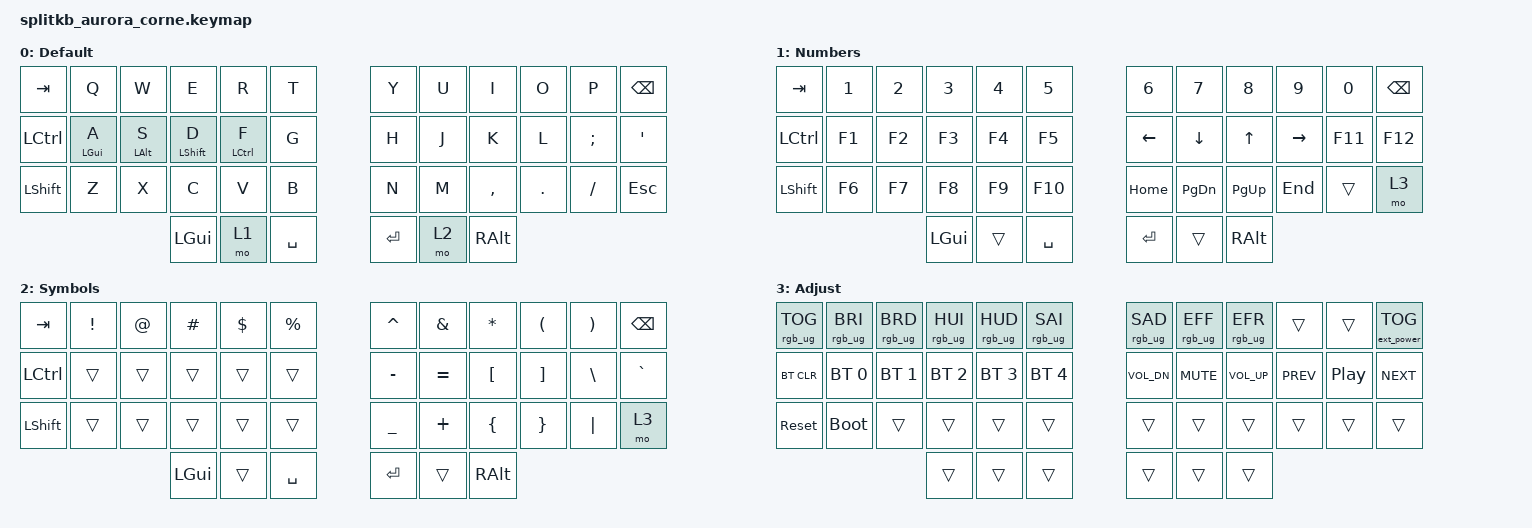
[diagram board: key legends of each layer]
/*
 * Copyright (c) 2020 The ZMK Contributors
 *
 * SPDX-License-Identifier: MIT
 */

#include <behaviors.dtsi>
#include <dt-bindings/zmk/keys.h>
#include <dt-bindings/zmk/bt.h>
#include <dt-bindings/zmk/rgb.h>
#include <dt-bindings/zmk/ext_power.h>

/ {
    behaviors {
        hm: homerow_mods {
            compatible = "zmk,behavior-hold-tap";
            label = "HOMEROW_MODS";
            #binding-cells = <2>;
            tapping-term-ms = <150>;
            quick-tap-ms = <0>;
            flavor = "tap-preferred";
            bindings = <&kp>, <&kp>;
        };
    };

    combos {
        compatible = "zmk,combos";

        combo_lpar {
            timeout-ms = <50>;
            key-positions = <4 5>;  // R + T
            bindings = <&kp LPAR>;
        };

        combo_rpar {
            timeout-ms = <50>;
            key-positions = <6 7>;  // Y + U
            bindings = <&kp RPAR>;
        };

        combo_lbkt {
            timeout-ms = <50>;
            key-positions = <16 17>; // F + G
            bindings = <&kp LBKT>;
        };

        combo_rbkt {
            timeout-ms = <50>;
            key-positions = <18 19>; // H + J
            bindings = <&kp RBKT>;
        };

        combo_lbrc {
            timeout-ms = <50>;
            key-positions = <28 29>; // V + B
            bindings = <&kp LBRC>;
        };

        combo_rbrc {
            timeout-ms = <50>;
            key-positions = <30 31>; // N + M
            bindings = <&kp RBRC>;
        };

        combo_esc {
            timeout-ms = <50>;
            key-positions = <19 20>; // J + K
            bindings = <&kp ESC>;
        };
    };

    keymap {
        compatible = "zmk,keymap";

        default_layer {
            display-name = "Default";
// -----------------------------------------------------------------------------------------
// |  TAB |  Q  |  W  |  E  |  R  |  T  |   |  Y  |  U   |  I  |  O  |  P  | BSPC |
// | CTRL |A/GUI|S/ALT|D/SFT|F/CTL|  G  |   |  H  |  J   |  K  |  L  |  ;  |  '   |
// | SHFT |  Z  |  X  |  C  |  V  |  B  |   |  N  |  M   |  ,  |  .  |  /  | ESC  |
//                    | GUI | LWR | SPC |   | ENT | RSE  | ALT |
            bindings = <
   &kp TAB   &kp Q        &kp W        &kp E         &kp R         &kp T      &kp Y &kp U  &kp I     &kp O   &kp P    &kp BSPC
   &kp LCTRL &hm LGUI A   &hm LALT S   &hm LSHFT D   &hm LCTRL F   &kp G      &kp H &kp J  &kp K     &kp L   &kp SEMI &kp SQT
   &kp LSHFT &kp Z        &kp X        &kp C         &kp V         &kp B      &kp N &kp M  &kp COMMA &kp DOT &kp FSLH &kp ESC
                                       &kp LGUI      &mo 1         &kp SPACE  &kp RET &mo 2 &kp RALT
            >;
        };

        lower_layer {
            display-name = "Numbers";
// -----------------------------------------------------------------------------------------
// |  TAB |  1  |  2  |  3  |  4  |  5  |   |  6  |  7  |  8  |  9  |  0  | BSPC |
// | CTRL | F1  | F2  | F3  | F4  | F5  |   | LFT | DWN |  UP | RGT | F11 | F12  |
// | SHFT | F6  | F7  | F8  | F9  | F10 |   | HOME| PGDN| PGUP| END |     | ADJ  |
//                    | GUI |     | SPC |   | ENT |     | ALT |
            bindings = <
   &kp TAB    &kp N1  &kp N2  &kp N3  &kp N4  &kp N5     &kp N6    &kp N7    &kp N8    &kp N9     &kp N0  &kp BSPC
   &kp LCTRL  &kp F1  &kp F2  &kp F3  &kp F4  &kp F5     &kp LEFT  &kp DOWN  &kp UP    &kp RIGHT  &kp F11 &kp F12
   &kp LSHFT  &kp F6  &kp F7  &kp F8  &kp F9  &kp F10    &kp HOME  &kp PG_DN &kp PG_UP &kp END    &trans  &mo 3
                              &kp LGUI &trans  &kp SPACE  &kp RET   &trans    &kp RALT
            >;
        };

        raise_layer {
            display-name = "Symbols";
// -----------------------------------------------------------------------------------------
// |  TAB |  !  |  @  |  #  |  $  |  %  |   |  ^  |  &  |  *  |  (  |  )  | BSPC |
// | CTRL |     |     |     |     |     |   |  -  |  =  |  [  |  ]  |  \  |  `   |
// | SHFT |     |     |     |     |     |   |  _  |  +  |  {  |  }  | "|" | ADJ  |
//                    | GUI |     | SPC |   | ENT |     | ALT |
            bindings = <
   &kp  TAB  &kp EXCL &kp AT &kp HASH &kp DLLR &kp PRCNT   &kp CARET &kp AMPS  &kp ASTRK &kp LPAR &kp RPAR &kp BSPC
   &kp LCTRL &trans   &trans &trans   &trans   &trans      &kp MINUS &kp EQUAL &kp LBKT  &kp RBKT &kp BSLH &kp GRAVE
   &kp LSHFT &trans   &trans &trans   &trans   &trans      &kp UNDER &kp PLUS  &kp LBRC  &kp RBRC &kp PIPE &mo 3
                             &kp LGUI &trans   &kp SPACE   &kp RET   &trans    &kp RALT
            >;
        };

        adjust_layer {
            display-name = "Adjust";
// -----------------------------------------------------------------------------------------
// |RGBTOG|RGBBRI|RGBBRD|RGBHUI|RGBHUD|RGBSAI|   |RGBSAD|RGBEFF|RGBEFR|     |     |EP_TOG|
// |BTCLR | BT1  | BT2  | BT3  | BT4  | BT5  |   | VOL- | MUTE | VOL+ | PREV| PLAY| NEXT |
// |RESET |BOOTL |      |      |      |      |   |      |      |      |     |     |      |
//                      |      |      |      |   |      |      |      |
            bindings = <
   &rgb_ug RGB_TOG &rgb_ug RGB_BRI &rgb_ug RGB_BRD &rgb_ug RGB_HUI &rgb_ug RGB_HUD &rgb_ug RGB_SAI   &rgb_ug RGB_SAD &rgb_ug RGB_EFF &rgb_ug RGB_EFR &trans      &trans       &ext_power EP_TOG
   &bt BT_CLR      &bt BT_SEL 0    &bt BT_SEL 1    &bt BT_SEL 2    &bt BT_SEL 3    &bt BT_SEL 4      &kp C_VOL_DN    &kp C_MUTE      &kp C_VOL_UP    &kp C_PREV  &kp C_PP     &kp C_NEXT
   &sys_reset      &bootloader     &trans          &trans          &trans          &trans            &trans          &trans          &trans          &trans      &trans       &trans
                                                   &trans          &trans          &trans            &trans          &trans          &trans
            >;
        };
    };
};
